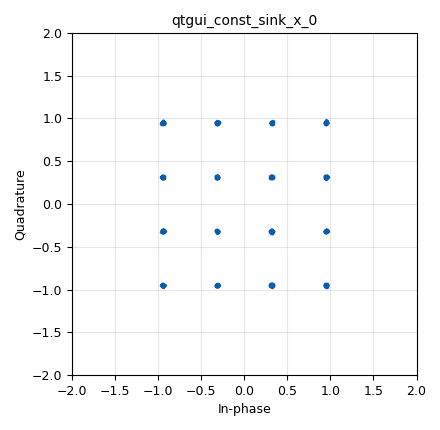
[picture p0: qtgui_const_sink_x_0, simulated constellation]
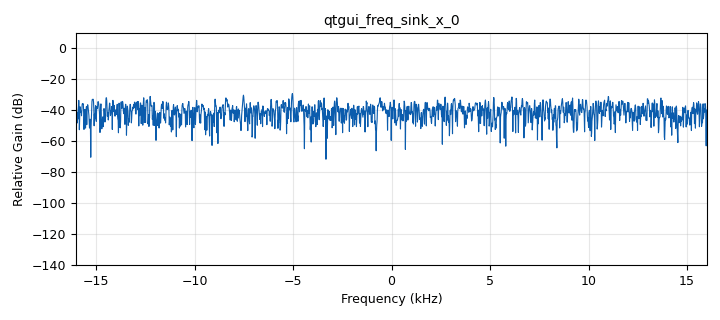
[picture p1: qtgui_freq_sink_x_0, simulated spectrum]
options:
  parameters:
    generate_options: qt_gui
    id: mer_probe_ai
    output_language: python
    title: Not titled yet
  states: {}

blocks:
- name: ai
  id: variable_qtgui_range
  parameters:
    gui_hint: 0,2,1,1
    label: ai
    start: '0'
    step: '.001'
    stop: '5'
    value: '0'
  states: {}
- name: cs
  id: variable_qtgui_range
  parameters:
    gui_hint: 0,1,1,1
    label: cs
    start: '0'
    step: '.001'
    stop: '.5'
    value: '0'
  states: {}
- name: noise
  id: variable_qtgui_range
  parameters:
    gui_hint: 0,4,1,1
    label: noise
    start: '0'
    step: '.001'
    stop: '100e-3'
    value: '10e-3'
  states: {}
- name: pj
  id: variable_qtgui_range
  parameters:
    gui_hint: 0,0,1,1
    label: pj
    start: '-40'
    step: '.001'
    stop: '0'
    value: '-40'
  states: {}
- name: qe
  id: variable_qtgui_range
  parameters:
    gui_hint: 0,3,1,1
    label: qe
    start: '0'
    step: '.001'
    stop: '5'
    value: '0'
  states: {}
- name: samp_rate
  id: variable
  parameters:
    value: '32000'
  states: {}
- name: analog_random_source_x_0
  id: analog_random_source_x
  parameters:
    max: '16'
    min: '0'
    num_samps: '1000'
    repeat: 'True'
    type: byte
  states: {}
- name: channels_channel_model_0
  id: channels_channel_model
  parameters:
    epsilon: '1.0'
    freq_offset: '0.0'
    noise_voltage: noise
    seed: '0'
    taps: '1.0'
  states: {}
- name: channels_impairments_0
  id: channels_impairments
  parameters:
    freq_offset: '0'
    gamma: '0'
    i_ofs: '0'
    magbal: ai
    phase_noise_mag: pj
    phasebal: qe
    q_ofs: cs
  states: {}
- name: digital_chunks_to_symbols_xx_0
  id: digital_chunks_to_symbols_xx
  parameters:
    dimension: '1'
    in_type: byte
    out_type: complex
    symbol_table: '[0.9487+0.9487j,0.9487+0.3162j, 0.3162+0.9487j, 0.3162 +0.3162j,0.9487-0.9487j,0.9487- 0.3162j, 0.3162-0.9487j, 0.3162- 0.3162j,-0.9487+0.9487j,-0.9487+ 0.3162j,- 0.3162+0.9487j,- 0.3162+ 0.3162j,-0.9487-0.9487j,-0.9487- 0.3162j,-0.3162-0.9487j,-0.3162- 0.3162j]'
  states: {}
- name: mer_probe_all_meassurements_cf_0
  id: mer_probe_all_meassurements_cf
  parameters:
    alpha: '0.05'
    symbol_table: '[0.9487+0.9487j,0.9487+0.3162j, 0.3162+0.9487j, 0.3162 +0.3162j,0.9487-0.9487j,0.9487- 0.3162j, 0.3162-0.9487j, 0.3162- 0.3162j,-0.9487+0.9487j,-0.9487+ 0.3162j,- 0.3162+0.9487j,- 0.3162+ 0.3162j,-0.9487-0.9487j,-0.9487- 0.3162j,-0.3162-0.9487j,-0.3162- 0.3162j]'
  states: {}
- name: qtgui_0
  id: qtgui_tab_widget
  parameters:
    gui_hint: 1,0,6,5
    label0: Constellation
    label1: Measures
    label2: FFT
    num_tabs: '3'
  states: {}
- name: qtgui_const_sink_x_0
  id: qtgui_const_sink_x
  parameters:
    gui_hint: 'qtgui_0@0 : 0,0,1,1'
    size: '1024'
    type: complex
  states: {}
- name: qtgui_freq_sink_x_0
  id: qtgui_freq_sink_x
  parameters:
    bw: samp_rate
    fc: '0'
    fftsize: '2048'
    gui_hint: 'qtgui_0@2: 0,0,1,1'
    type: complex
  states: {}
- name: qtgui_number_sink_0
  id: qtgui_number_sink
  parameters:
    color1: ("blue", "red")
    graph_type: qtgui.NUM_GRAPH_HORIZ
    gui_hint: 'qtgui_0@1:  0,0,1,1'
    label1: '" "'
    max: '100'
    min: '0'
    name: '"MER"'
    type: float
    unit1: dB
  states: {}
- name: qtgui_number_sink_0_0
  id: qtgui_number_sink
  parameters:
    color1: ("blue", "red")
    graph_type: qtgui.NUM_GRAPH_HORIZ
    gui_hint: 'qtgui_0@1:  0,1,1,1'
    label1: '" "'
    min: '0'
    name: '"STE"'
    type: float
    unit1: V
  states: {}
- name: qtgui_number_sink_0_0_0
  id: qtgui_number_sink
  parameters:
    color1: ("blue", "red")
    graph_type: qtgui.NUM_GRAPH_HORIZ
    gui_hint: 'qtgui_0@1:  2,1,1,1'
    label1: '" "'
    max: '10'
    min: '-10'
    name: '"Quadrature Vertical Angle Error "'
    type: float
    unit1: degrees
  states: {}
- name: qtgui_number_sink_0_0_1
  id: qtgui_number_sink
  parameters:
    color1: ("blue", "red")
    graph_type: qtgui.NUM_GRAPH_HORIZ
    gui_hint: 'qtgui_0@1:  0,2,1,1'
    label1: '" "'
    max: '100'
    min: '0'
    name: '"SNR"'
    type: float
    unit1: dB
  states: {}
- name: qtgui_number_sink_0_1
  id: qtgui_number_sink
  parameters:
    color1: ("blue", "red")
    graph_type: qtgui.NUM_GRAPH_HORIZ
    gui_hint: 'qtgui_0@1:  1,0,1,1'
    label1: '" "'
    min: '0'
    name: '"Carrier Suppression"'
    type: float
    unit1: Power Normalized to Tx Power
  states: {}
- name: qtgui_number_sink_0_2
  id: qtgui_number_sink
  parameters:
    color1: ("blue", "red")
    graph_type: qtgui.NUM_GRAPH_HORIZ
    gui_hint: 'qtgui_0@1:  1,1,1,1'
    label1: '" "'
    min: '0'
    name: '"Amplitude Imbalance Horizontal"'
    type: float
    unit1: V
  states: {}
- name: qtgui_number_sink_0_3
  id: qtgui_number_sink
  parameters:
    color1: ("blue", "red")
    graph_type: qtgui.NUM_GRAPH_HORIZ
    gui_hint: 'qtgui_0@1:  2,0,1,1'
    label1: '" "'
    max: '10'
    min: '-10'
    name: '"Quadrature Horizontal Angle Error "'
    type: float
    unit1: degrees
  states: {}
- name: qtgui_number_sink_0_4
  id: qtgui_number_sink
  parameters:
    color1: ("blue", "red")
    graph_type: qtgui.NUM_GRAPH_HORIZ
    gui_hint: 'qtgui_0@1:  2,2,1,1'
    label1: '" "'
    max: '.1'
    min: '-.1'
    name: '"Phase Jitter Variance"'
    type: float
  states: {}
- name: qtgui_number_sink_1
  id: qtgui_number_sink
  parameters:
    color1: ("blue", "red")
    graph_type: qtgui.NUM_GRAPH_HORIZ
    gui_hint: 'qtgui_0@1:  1,2,1,1'
    label1: '" "'
    min: '0'
    name: '"Amplitude Imbalance Vertical"'
    type: float
    unit1: V
  states: {}

connections:
- [analog_random_source_x_0, '0', digital_chunks_to_symbols_xx_0, '0']
- [channels_channel_model_0, '0', mer_probe_all_meassurements_cf_0, '0']
- [channels_channel_model_0, '0', qtgui_const_sink_x_0, '0']
- [channels_channel_model_0, '0', qtgui_freq_sink_x_0, '0']
- [channels_impairments_0, '0', channels_channel_model_0, '0']
- [digital_chunks_to_symbols_xx_0, '0', channels_impairments_0, '0']
- [mer_probe_all_meassurements_cf_0, '0', qtgui_number_sink_0, '0']
- [mer_probe_all_meassurements_cf_0, '1', qtgui_number_sink_0_0, '0']
- [mer_probe_all_meassurements_cf_0, '2', qtgui_number_sink_0_1, '0']
- [mer_probe_all_meassurements_cf_0, '3', qtgui_number_sink_0_2, '0']
- [mer_probe_all_meassurements_cf_0, '4', qtgui_number_sink_1, '0']
- [mer_probe_all_meassurements_cf_0, '5', qtgui_number_sink_0_3, '0']
- [mer_probe_all_meassurements_cf_0, '6', qtgui_number_sink_0_0_0, '0']
- [mer_probe_all_meassurements_cf_0, '7', qtgui_number_sink_0_4, '0']
- [mer_probe_all_meassurements_cf_0, '8', qtgui_number_sink_0_0_1, '0']

metadata:
  file_format: 1
  grc_version: 3.9.8.0
